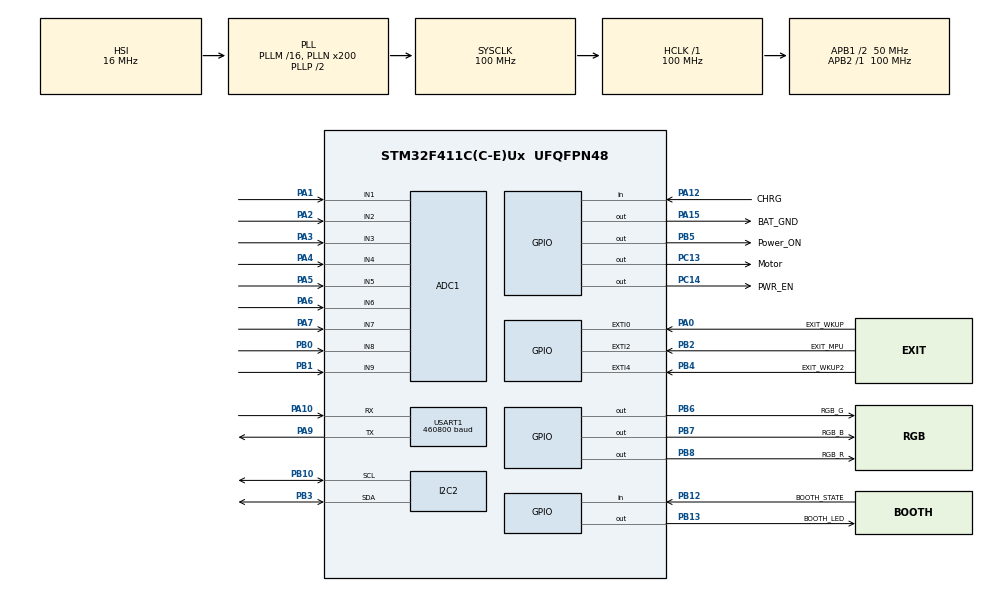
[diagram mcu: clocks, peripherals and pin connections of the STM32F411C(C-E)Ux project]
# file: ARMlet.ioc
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ADC1.Channel-0\#ChannelRegularConversion=ADC_CHANNEL_1
ADC1.Channel-10\#ChannelRegularConversion=ADC_CHANNEL_3
ADC1.Channel-11\#ChannelRegularConversion=ADC_CHANNEL_4
ADC1.Channel-12\#ChannelRegularConversion=ADC_CHANNEL_5
ADC1.Channel-13\#ChannelRegularConversion=ADC_CHANNEL_6
ADC1.Channel-14\#ChannelRegularConversion=ADC_CHANNEL_7
ADC1.Channel-15\#ChannelRegularConversion=ADC_CHANNEL_8
ADC1.Channel-16\#ChannelRegularConversion=ADC_CHANNEL_9
ADC1.Channel-9\#ChannelRegularConversion=ADC_CHANNEL_2
ADC1.ClockPrescaler=ADC_CLOCK_SYNC_PCLK_DIV8
ADC1.ContinuousConvMode=ENABLE
ADC1.DMAContinuousRequests=ENABLE
ADC1.DiscontinuousConvMode=DISABLE
ADC1.EOCSelection=ADC_EOC_SINGLE_CONV
ADC1.InjNumberOfConversion=0
ADC1.NbrOfConversion=9
ADC1.NbrOfConversionFlag=1
ADC1.Rank-0\#ChannelRegularConversion=1
ADC1.Rank-10\#ChannelRegularConversion=3
ADC1.Rank-11\#ChannelRegularConversion=4
ADC1.Rank-12\#ChannelRegularConversion=5
ADC1.Rank-13\#ChannelRegularConversion=6
ADC1.Rank-14\#ChannelRegularConversion=7
ADC1.Rank-15\#ChannelRegularConversion=8
ADC1.Rank-16\#ChannelRegularConversion=9
ADC1.Rank-9\#ChannelRegularConversion=2
ADC1.SamplingTime-0\#ChannelRegularConversion=ADC_SAMPLETIME_144CYCLES
ADC1.SamplingTime-10\#ChannelRegularConversion=ADC_SAMPLETIME_144CYCLES
ADC1.SamplingTime-11\#ChannelRegularConversion=ADC_SAMPLETIME_144CYCLES
ADC1.SamplingTime-12\#ChannelRegularConversion=ADC_SAMPLETIME_144CYCLES
ADC1.SamplingTime-13\#ChannelRegularConversion=ADC_SAMPLETIME_144CYCLES
ADC1.SamplingTime-14\#ChannelRegularConversion=ADC_SAMPLETIME_144CYCLES
ADC1.SamplingTime-15\#ChannelRegularConversion=ADC_SAMPLETIME_144CYCLES
ADC1.SamplingTime-16\#ChannelRegularConversion=ADC_SAMPLETIME_144CYCLES
ADC1.SamplingTime-9\#ChannelRegularConversion=ADC_SAMPLETIME_144CYCLES
ADC1.ScanConvMode=ENABLE
ADC1.master=1
Dma.ADC1.0.Direction=DMA_PERIPH_TO_MEMORY
Dma.ADC1.0.FIFOMode=DMA_FIFOMODE_DISABLE
Dma.ADC1.0.Instance=DMA2_Stream0
Dma.ADC1.0.MemDataAlignment=DMA_MDATAALIGN_WORD
Dma.ADC1.0.MemInc=DMA_MINC_ENABLE
Dma.ADC1.0.Mode=DMA_CIRCULAR
Dma.ADC1.0.PeriphDataAlignment=DMA_PDATAALIGN_WORD
Dma.ADC1.0.PeriphInc=DMA_PINC_DISABLE
Dma.ADC1.0.Priority=DMA_PRIORITY_MEDIUM
Dma.Request0=ADC1
Mcu.Family=STM32F4
Mcu.Name=STM32F411C(C-E)Ux
Mcu.Package=UFQFPN48
NVIC.DMA2_Stream0_IRQn=true\:0\:0\:false\:false\:true\:false\:true
NVIC.EXTI0_IRQn=true\:1\:0\:true\:false\:true\:true\:true
NVIC.EXTI2_IRQn=true\:2\:0\:true\:false\:true\:true\:true
NVIC.EXTI4_IRQn=true\:1\:0\:true\:false\:true\:true\:true
NVIC.PriorityGroup=NVIC_PRIORITYGROUP_4
NVIC.TIM1_BRK_TIM9_IRQn=true\:5\:0\:true\:false\:true\:true\:true
NVIC.TIM1_TRG_COM_TIM11_IRQn=true\:5\:0\:true\:false\:true\:true\:true
NVIC.TIM1_UP_TIM10_IRQn=true\:1\:0\:true\:false\:true\:true\:true
NVIC.TIM3_IRQn=true\:5\:0\:true\:false\:true\:true\:true
NVIC.TIM4_IRQn=true\:5\:0\:true\:false\:true\:true\:true
NVIC.TIM5_IRQn=true\:2\:0\:true\:false\:true\:true\:true
NVIC.USART1_IRQn=true\:0\:0\:true\:false\:true\:true\:true
PA0-WKUP.GPIO_Label=EXIT_WKUP
PA0-WKUP.GPIO_ModeDefaultEXTI=GPIO_MODE_IT_RISING
PA0-WKUP.Signal=GPXTI0
PA1.Signal=ADCx_IN1
PA10.Mode=Asynchronous
PA10.Signal=USART1_RX
PA12.GPIO_Label=CHRG
PA12.GPIO_PuPd=GPIO_PULLDOWN
PA12.Signal=GPIO_Input
PA13.Mode=Serial_Wire
PA13.Signal=SYS_JTMS-SWDIO
PA14.Mode=Serial_Wire
PA14.Signal=SYS_JTCK-SWCLK
PA15.GPIO_Label=BAT_GND
PA15.GPIO_PuPd=GPIO_NOPULL
PA15.Signal=GPIO_Output
PA2.Signal=ADCx_IN2
PA3.Signal=ADCx_IN3
PA4.Signal=ADCx_IN4
PA5.Signal=ADCx_IN5
PA6.Signal=ADCx_IN6
PA7.Signal=ADCx_IN7
PA9.Mode=Asynchronous
PA9.Signal=USART1_TX
PB0.Signal=ADCx_IN8
PB1.Signal=ADCx_IN9
PB10.Mode=I2C
PB10.Signal=I2C2_SCL
PB12.GPIO_Label=BOOTH_STATE
PB12.GPIO_PuPd=GPIO_PULLDOWN
PB12.Signal=GPIO_Input
PB13.GPIO_Label=BOOTH_LED
PB13.GPIO_PuPd=GPIO_PULLDOWN
PB13.PinState=GPIO_PIN_SET
PB13.Signal=GPIO_Output
PB2.GPIO_Label=EXIT_MPU
PB2.GPIO_ModeDefaultEXTI=GPIO_MODE_IT_FALLING
PB2.Signal=GPXTI2
PB3.Mode=I2C
PB3.Signal=I2C2_SDA
PB4.GPIO_Label=EXIT_WKUP2
PB4.GPIO_ModeDefaultEXTI=GPIO_MODE_IT_FALLING
PB4.Signal=GPXTI4
PB5.GPIO_Label=Power_ON
PB5.GPIO_PuPd=GPIO_PULLDOWN
PB5.PinState=GPIO_PIN_SET
PB5.Signal=GPIO_Output
PB6.GPIO_Label=RGB_G
PB6.GPIO_PuPd=GPIO_PULLDOWN
PB6.PinState=GPIO_PIN_SET
PB6.Signal=GPIO_Output
PB7.GPIO_Label=RGB_B
PB7.GPIO_PuPd=GPIO_PULLDOWN
PB7.PinState=GPIO_PIN_SET
PB7.Signal=GPIO_Output
PB8.GPIO_Label=RGB_R
PB8.GPIO_PuPd=GPIO_PULLDOWN
PB8.PinState=GPIO_PIN_SET
PB8.Signal=GPIO_Output
PC13-ANTI_TAMP.GPIO_Label=Motor
PC13-ANTI_TAMP.GPIO_PuPd=GPIO_PULLDOWN
PC13-ANTI_TAMP.Signal=GPIO_Output
PC14-OSC32_IN.GPIO_Label=PWR_EN
PC14-OSC32_IN.GPIO_PuPd=GPIO_PULLDOWN
PC14-OSC32_IN.PinState=GPIO_PIN_SET
PC14-OSC32_IN.Signal=GPIO_Output
ProjectManager.HeapSize=0x200
ProjectManager.StackSize=0x400
ProjectManager.TargetToolchain=MDK-ARM V5.32
RCC.48MHZClocksFreq_Value=50000000
RCC.AHBFreq_Value=100000000
RCC.APB1CLKDivider=RCC_HCLK_DIV2
RCC.APB1Freq_Value=50000000
RCC.APB1TimFreq_Value=100000000
RCC.APB2Freq_Value=100000000
RCC.APB2TimFreq_Value=100000000
RCC.CortexFreq_Value=100000000
RCC.HCLKFreq_Value=100000000
RCC.HSE_VALUE=25000000
RCC.HSI_VALUE=16000000
RCC.LSE_VALUE=32768
RCC.PLLN=200
RCC.SYSCLKFreq_VALUE=100000000
RCC.SYSCLKSource=RCC_SYSCLKSOURCE_PLLCLK
RCC.VCOOutputFreq_Value=200000000
SH.ADCx_IN1.0=ADC1_IN1,IN1
SH.ADCx_IN2.0=ADC1_IN2,IN2
SH.ADCx_IN3.0=ADC1_IN3,IN3
SH.ADCx_IN4.0=ADC1_IN4,IN4
SH.ADCx_IN5.0=ADC1_IN5,IN5
SH.ADCx_IN6.0=ADC1_IN6,IN6
SH.ADCx_IN7.0=ADC1_IN7,IN7
SH.ADCx_IN8.0=ADC1_IN8,IN8
SH.ADCx_IN9.0=ADC1_IN9,IN9
TIM10.Period=1999
TIM10.Prescaler=99
TIM11.Period=49999
TIM11.Prescaler=99
TIM3.Period=50000
TIM3.Prescaler=999
TIM4.Period=49999
TIM4.Prescaler=99
TIM5.Period=1000
TIM5.Prescaler=99
TIM9.Period=1000
TIM9.Prescaler=999
USART1.BaudRate=460800
USART1.VirtualMode=VM_ASYNC
VP_TIM10_VS_ClockSourceINT.Mode=Enable_Timer
VP_TIM11_VS_ClockSourceINT.Mode=Enable_Timer
VP_TIM3_VS_ClockSourceINT.Mode=Internal
VP_TIM4_VS_ClockSourceINT.Mode=Internal
VP_TIM5_VS_ClockSourceINT.Mode=Internal
VP_TIM9_VS_ClockSourceINT.Mode=Internal
board=custom

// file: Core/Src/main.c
/* USER CODE BEGIN Header */
/**
  ******************************************************************************
  * @file           : main.c
  * @brief          : Main program body
  ******************************************************************************
  * @attention
  *
  * <h2><center>&copy; Copyright (c) 2021 STMicroelectronics.
  * All rights reserved.</center></h2>
  *
  * This software component is licensed by ST under BSD 3-Clause license,
  * the "License"; You may not use this file except in compliance with the
  * License. You may obtain a copy of the License at:
  *                        opensource.org/licenses/BSD-3-Clause
  *
  ******************************************************************************
  */
/*============================肌电臂环简易版程序 V0.0.1================================
 * 念通智能
 * 简述外设功能
 * 1.htim10:	周期2ms			中断优先级：1		作用：采集EMG
 * 2.htim11:	周期50ms		中断优先级：5		作用：更新RGB灯色状态
 * 3.htim3:		周期200ms		中断优先级：5		作用：循环控制BOOTH_LED
 * 4.htim9:		周期10ms		中断优先级：5		作用：判断当前各种工作状态
 *
 *
 *
 * EXIT_GPIO2:	周期10ms		中断优先级：2		作用：IMU中断引脚
 *
 *
 *
 *
 *
 * */
/* USER CODE END Header */
#include "main.h"
#include "adc.h"
#include "dma.h"
#include "i2c.h"
#include "tim.h"
#include "usart.h"
#include "gpio.h"

/* USER CODE BEGIN PV */
uint32_t AD_Value[20];	/* 8->EMG;1->battery*/
//==============================System work PV==================================
uint8_t work_state;				//工作状态变量	1：充电充满  2：正在充电	3：正常工作	  4：电量不足  5：电量微弱请及时充电
uint8_t Booth_state;			//蓝牙连接状态  0：未连接   1：连接状态
uint8_t Charge_state;			//充电状态		0：正在充   1：已经充满
uint8_t htim9_flag;				//定时器9旗标
uint8_t htim10_flag;			//定时器10旗标
uint8_t TimeFlag;				//EMG中断旗标
uint8_t IMUFlag;				//IMU中断旗标
uint8_t SystemFlag=0;			//完成初始化旗标

//================================IMU 数据测试函数====================================
short gyro[3], accel[3], sensors;
float Pitch,Roll,Yaw;
float q0,q1,q2,q3;
uint8_t OutPut_Buffer[11];

//===============串口1中断接受变量，4个字节用来判断华总发出的指令 ====================
uint8_t	uart_flag;
uint8_t RxBuffer[4];
uint8_t	IMU_state=0;				//是否开启IMU读取				0：关闭		1：开启
uint8_t	Motor_work_time;		//是否开启电机震动			0：关闭		else：开启*100ms的震动

/* USER CODE END PV */

void SystemClock_Config(void);

int main(void)
{

  /* MCU Configuration--------------------------------------------------------*/

  /* Reset of all peripherals, Initializes the Flash interface and the Systick. */
  HAL_Init();

  /* Configure the system clock */
  SystemClock_Config();

  /* USER CODE BEGIN SysInit */
  WKUP_init();
  /* USER CODE END SysInit */

  /* Initialize all configured peripherals */
  MX_GPIO_Init();
  MX_DMA_Init();
  MX_ADC1_Init();
  MX_I2C2_Init();
  MX_TIM3_Init();
  MX_TIM9_Init();
  MX_TIM10_Init();
  MX_TIM11_Init();
  MX_USART1_UART_Init();
  MX_TIM4_Init();
  MX_TIM5_Init();

  /* Infinite loop */
  /* USER CODE BEGIN WHILE */

	HAL_ADC_Start_DMA(&hadc1,AD_Value,9);				//开启ADC转换

	Motor_Open();		//开电机
	Open_LED(0);		//开白色全灯
	HAL_Delay(300);		//稍作延时
	Motor_Close();		//关电机
	Li_battery = AD_Value[8];				//因为ADC采集Li_battery在主函数中执行，先提前采集一次数据
	HAL_Delay(50);		//稍作延时

	HAL_TIM_Base_Start_IT(&htim3);			//蓝牙闪烁htim 200ms/T
	HAL_TIM_Base_Start_IT(&htim9);			//状态判断htim	 90ms/T
	HAL_TIM_Base_Start_IT(&htim10);			//EMG采集htim	 2ms/T
	HAL_TIM_Base_Start_IT(&htim11);			//LED灯状态更新htim  50ms/T

  HAL_Delay(10);
  DMP_init();			//IMU初始化
  HAL_Delay(10);

  SystemFlag = 1;

  while (1)
  {
			HAL_UART_Receive_IT(&huart1,RxBuffer,sizeof(RxBuffer));		//串口1接收中断
//		if(HAL_UART_Receive(&huart1,RxBuffer,sizeof(RxBuffer),1000) == HAL_OK)
//		{
//				//定长解析
//				if((RxBuffer[0]==0xCC)&&(RxBuffer[1]==0xDD))
//				{
//					if(RxBuffer[2] == 0xFF)
//					{
//						if(RxBuffer[3] == 0x66)
//						{//开启IMU读取
//							IMU_state = 1;
//						}
//						else if(RxBuffer[3] == 0x77)
//						{//关闭IMU读取
//							IMU_state = 0;
//						}
//					}
//					else if(RxBuffer[2] == 0xEE)
//					{//将time传递给电机震动部分
//						Motor_work_time = RxBuffer[3];
//					}
//				}
//		}

		if(Motor_work_time!=0)
		{//串口读取到数据需要开启电机，对应延时时间
			Motor_Open();
			HAL_Delay(Motor_work_time*100);
			Motor_Close();
			Motor_work_time = 0;
		}
    /* USER CODE END WHILE */

  }
}

void SystemClock_Config(void)
{
  RCC_OscInitTypeDef RCC_OscInitStruct = {0};
  RCC_ClkInitTypeDef RCC_ClkInitStruct = {0};

  /** Configure the main internal regulator output voltage
  */
  __HAL_RCC_PWR_CLK_ENABLE();
  __HAL_PWR_VOLTAGESCALING_CONFIG(PWR_REGULATOR_VOLTAGE_SCALE1);
  /** Initializes the RCC Oscillators according to the specified parameters
  * in the RCC_OscInitTypeDef structure.
  */
  RCC_OscInitStruct.OscillatorType = RCC_OSCILLATORTYPE_HSI;
  RCC_OscInitStruct.HSIState = RCC_HSI_ON;
  RCC_OscInitStruct.HSICalibrationValue = RCC_HSICALIBRATION_DEFAULT;
  RCC_OscInitStruct.PLL.PLLState = RCC_PLL_ON;
  RCC_OscInitStruct.PLL.PLLSource = RCC_PLLSOURCE_HSI;
  RCC_OscInitStruct.PLL.PLLM = 16;
  RCC_OscInitStruct.PLL.PLLN = 200;
  RCC_OscInitStruct.PLL.PLLP = RCC_PLLP_DIV2;
  RCC_OscInitStruct.PLL.PLLQ = 4;
  if (HAL_RCC_OscConfig(&RCC_OscInitStruct) != HAL_OK)
  {
    Error_Handler();
  }
  /** Initializes the CPU, AHB and APB buses clocks
  */
  RCC_ClkInitStruct.ClockType = RCC_CLOCKTYPE_HCLK|RCC_CLOCKTYPE_SYSCLK
                              |RCC_CLOCKTYPE_PCLK1|RCC_CLOCKTYPE_PCLK2;
  RCC_ClkInitStruct.SYSCLKSource = RCC_SYSCLKSOURCE_PLLCLK;
  RCC_ClkInitStruct.AHBCLKDivider = RCC_SYSCLK_DIV1;
  RCC_ClkInitStruct.APB1CLKDivider = RCC_HCLK_DIV2;
  RCC_ClkInitStruct.APB2CLKDivider = RCC_HCLK_DIV1;

  if (HAL_RCC_ClockConfig(&RCC_ClkInitStruct, FLASH_LATENCY_3) != HAL_OK)
  {
    Error_Handler();
  }
}

/* USER CODE BEGIN 4 */
void HAL_TIM_PeriodElapsedCallback(TIM_HandleTypeDef *htim)
{
	if(htim == &htim3)
	{//蓝牙指示灯工作定时器 200ms/T
		htim3_work_serve();
	}
	if(htim == &htim5)
	{//1MS

	}
	if(htim == &htim9)
	{//判断工作状态 10ms/T
		htim9_work_serve();
	}
	if(htim == &htim10)
	{//采集EMG 2ms  同时因为这个最高优先级的中断,也担负IMU的串口数据发送
	  get_ADCdata();	//获取9路ADC数据
	  //get_ADCdata_Double_for_Onechannel();
		/* 发送16位 是1.5字节一个数据			发送18位是 2个字节一个数据*/

	  if(HAL_UART_Transmit(&huart1, Emg_Data_Sent, 16, 0xff)==HAL_OK)
		{TimeFlag = 0;}
	  else
		{Error_Handler();}
		if(IMU_state == 1)
		{//串口开启IMU状态
			if(IMUFlag == 1)
			{
				IMUFlag = 0;
				if(HAL_UART_Transmit(&huart1, Imu_Data_Sent, 8, 0xff)==HAL_OK)
					IMUFlag = 0;
				else
					Error_Handler();
			}
	  }
	}//end of tim10
	if(htim == &htim11)
	{//电池状态判断 50ms
		htim11_work_serve();
	}
}

/*****************中断接收命令，trigger功能，CommandRecevFlag*********************/
void HAL_UART_RxCpltCallback(UART_HandleTypeDef *huart)
{
	if(huart == &huart1)
	{

				//定长解析
				if((RxBuffer[0]==0xCC)&&(RxBuffer[1]==0xDD))
				{
					if(RxBuffer[2] == 0xFF)
					{
						if(RxBuffer[3] == 0x66)
						{//开启IMU读取
							IMU_state = 1;
						}
						else if(RxBuffer[3] == 0x77)
						{//关闭IMU读取
							IMU_state = 0;
						}
					}
					else if(RxBuffer[2] == 0xEE)
					{//将time传递给电机震动部分
						Motor_work_time = RxBuffer[3];
					}
				}
	//	HAL_UART_Receive_IT(&huart1,RxBuffer,sizeof(RxBuffer));		//串口1接收中断
	}

}
/* USER CODE END 4 */

void Error_Handler(void)
{
  /* USER CODE BEGIN Error_Handler_Debug */
  /* User can add his own implementation to report the HAL error return state */
  __disable_irq();
  while (1)
  {//错误中断内红灯不停闪烁
	  for(uint8_t i=0;i<20;i++)
	  {
		  Open_LED(3);
		  HAL_Delay(200);
		  Close_LED(3);
		  HAL_Delay(200);
	  }
	  PBout(5)=0;

  }
  /* USER CODE END Error_Handler_Debug */
}

/************************ (C) COPYRIGHT STMicroelectronics *****END OF FILE****/
